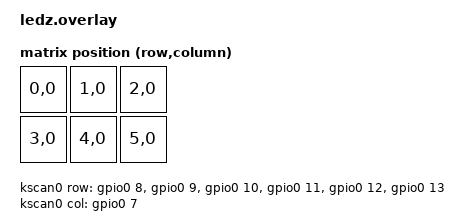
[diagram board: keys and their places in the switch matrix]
/*
 * Copyright (c) 2024 miketronic
 * SPDX-License-Identifier: MIT
 */

#include <dt-bindings/zmk/matrix_transform.h>


/ {
	chosen {
		zmk,kscan = &kscan0;
		zmk,matrix_transform = &default_transform;
                zmk,underglow = &led_strip;
	};

	kscan0: kscan {
        compatible = "zmk,kscan-gpio-matrix";
        diode-direction = "col2row";
        col-gpios
            = <&gpio0 7 (GPIO_ACTIVE_LOW | GPIO_PULL_UP)> //W
            ;
        row-gpios
            = <&gpio0 8 (GPIO_ACTIVE_HIGH | GPIO_PULL_DOWN)> // ROW5
            , <&gpio0 9 (GPIO_ACTIVE_HIGH | GPIO_PULL_DOWN)> // ROW2
            , <&gpio0 10  (GPIO_ACTIVE_HIGH | GPIO_PULL_DOWN)> // ROW3
            , <&gpio0 11 (GPIO_ACTIVE_HIGH | GPIO_PULL_DOWN)> // ROW4
            , <&gpio0 12 (GPIO_ACTIVE_HIGH | GPIO_PULL_DOWN)> // ROW0
            , <&gpio0 13 (GPIO_ACTIVE_HIGH | GPIO_PULL_DOWN)> // ROW1
            ;
	};

	default_transform: keymap_transform_0 {
		compatible = "zmk,matrix-transform";
		columns = <1>;
		rows = <6>;
		map = <
	           RC(0,0)  RC(1,0)   RC(2,0)  		
             RC(3,0)  RC(4,0)   RC(5,0)
		>;
	};

};
